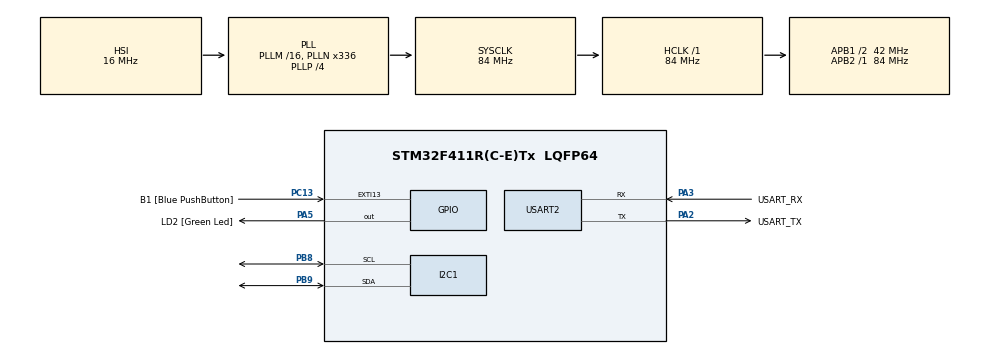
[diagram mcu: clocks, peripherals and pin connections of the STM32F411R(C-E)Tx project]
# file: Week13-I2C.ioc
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Mcu.Family=STM32F4
PC15-OSC32_OUT.Mode=LSE-External-Oscillator
RCC.CortexFreq_Value=84000000
NVIC.I2C1_EV_IRQn=true\:0\:0\:false\:false\:true\:true\:true
PC13-ANTI_TAMP.GPIO_Label=B1 [Blue PushButton]
PA14.GPIO_Label=TCK
PH1\ -\ OSC_OUT.Mode=HSE-External-Clock-Source
RCC.APB1CLKDivider=RCC_HCLK_DIV2
PC14-OSC32_IN.Signal=RCC_OSC32_IN
RCC.SYSCLKSource=RCC_SYSCLKSOURCE_PLLCLK
ProjectManager.StackSize=0x400
PA13.Signal=SYS_JTMS-SWDIO
PA3.Mode=Asynchronous
PH0\ -\ OSC_IN.Mode=HSE-External-Clock-Source
PH0\ -\ OSC_IN.Signal=RCC_OSC_IN
ProjectManager.TargetToolchain=STM32CubeIDE
I2C1.I2C_Mode=I2C_Fast
RCC.HCLKFreq_Value=84000000
PB9.Mode=I2C
RCC.APB2TimFreq_Value=84000000
PC15-OSC32_OUT.Signal=RCC_OSC32_OUT
RCC.AHBFreq_Value=84000000
PA5.Signal=GPIO_Output
RCC.HSE_VALUE=8000000
PH1\ -\ OSC_OUT.Signal=RCC_OSC_OUT
board=NUCLEO-F411RE
PC13-ANTI_TAMP.Signal=GPXTI13
RCC.VCOOutputFreq_Value=336000000
RCC.APB2Freq_Value=84000000
PC14-OSC32_IN.Mode=LSE-External-Oscillator
PA14.Mode=Serial_Wire
PA13.Mode=Serial_Wire
NVIC.I2C1_ER_IRQn=true\:0\:0\:false\:false\:true\:true\:true
Mcu.Name=STM32F411R(C-E)Tx
PA2.Signal=USART2_TX
PA13.GPIO_Label=TMS
RCC.FLatency-AdvancedSettings=FLASH_LATENCY_2
RCC.48MHZClocksFreq_Value=84000000
PB3.Signal=SYS_JTDO-SWO
RCC.SYSCLKFreq_VALUE=84000000
Mcu.Package=LQFP64
PB9.Signal=I2C1_SDA
PA5.GPIO_Label=LD2 [Green Led]
USART2.VirtualMode=VM_ASYNC
PC13-ANTI_TAMP.GPIO_ModeDefaultEXTI=GPIO_MODE_IT_FALLING
PA2.GPIO_Label=USART_TX
PA14.Signal=SYS_JTCK-SWCLK
ProjectManager.HeapSize=0x200
RCC.HSI_VALUE=16000000
RCC.PLLP=RCC_PLLP_DIV4
NVIC.PriorityGroup=NVIC_PRIORITYGROUP_0
PB8.Mode=I2C
RCC.PLLN=336
RCC.APB1TimFreq_Value=84000000
PA2.Mode=Asynchronous
PB8.Signal=I2C1_SCL
RCC.APB1Freq_Value=42000000
PA3.GPIO_Label=USART_RX
PA3.Signal=USART2_RX
PB3.GPIO_Label=SWO

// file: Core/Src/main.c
/* USER CODE BEGIN Header */
/**
 ******************************************************************************
 * @file           : main.c
 * @brief          : Main program body
 ******************************************************************************
 * @attention
 *
 * <h2><center>&copy; Copyright (c) 2021 STMicroelectronics.
 * All rights reserved.</center></h2>
 *
 * This software component is licensed by ST under BSD 3-Clause license,
 * the "License"; You may not use this file except in compliance with the
 * License. You may obtain a copy of the License at:
 *                        opensource.org/licenses/BSD-3-Clause
 *
 ******************************************************************************
 */
/* USER CODE END Header */
#include "main.h"

/* USER CODE BEGIN PD */
#define EEPROM_ADDR 0b10100000
#define IOEXPD_ADDR 0b01000000
/* USER CODE END PD */

I2C_HandleTypeDef hi2c1;

UART_HandleTypeDef huart2;

/* USER CODE BEGIN PV */
uint8_t eepromExampleWriteFlag = 0;
uint8_t eepromExampleReadFlag = 0;
uint8_t IOExpdrExampleWriteFlag = 0;
uint8_t IOExpdrExampleReadFlag = 0;
uint8_t eepromDataReadBack[4];
uint8_t IOExpdrDataReadBack;
uint8_t IOExpdrDataWrite ;
uint64_t ButtonB1[2];
uint8_t Rdata = 0;
uint8_t data;
uint16_t state = 0;

/* USER CODE END PV */

void SystemClock_Config(void);
static void MX_GPIO_Init(void);
static void MX_USART2_UART_Init(void);
static void MX_I2C1_Init(void);
/* USER CODE BEGIN PFP */
void EEPROMWriteExample();
void EEPROMReadExample();

void IOExpenderInit();
void IOExpenderReadPinA();
void IOExpenderWritePinB();

/* USER CODE END PFP */

int main(void)
{

  /* MCU Configuration--------------------------------------------------------*/

  /* Reset of all peripherals, Initializes the Flash interface and the Systick. */
  HAL_Init();

  /* Configure the system clock */
  SystemClock_Config();

  /* Initialize all configured peripherals */
  MX_GPIO_Init();
  MX_USART2_UART_Init();
  MX_I2C1_Init();
  /* USER CODE BEGIN 2 */
  HAL_Delay(100);
  IOExpenderInit();
  /* USER CODE END 2 */

  /* Infinite loop */
  /* USER CODE BEGIN WHILE */
	while (1) {
		ButtonB1[0] = HAL_GPIO_ReadPin(GPIOC, GPIO_PIN_13);
		switch(state)
		{
			case 0:
				if(ButtonB1[0] == 0 && ButtonB1[1] == 1)
				{
					IOExpenderReadPinA();
					HAL_Delay(100);
					EEPROMWriteExample();
					state = 1;
					break;
				}

			case 1:
				 if(ButtonB1[0] == 1 && ButtonB1[1] == 0)
				{
					EEPROMReadExample();
					HAL_Delay(100);
					IOExpenderWritePinB();
					state = 0;
					break;
				}
		}
		ButtonB1[1] = ButtonB1[0];

    /* USER CODE END WHILE */

	}
}

void SystemClock_Config(void)
{
  RCC_OscInitTypeDef RCC_OscInitStruct = {0};
  RCC_ClkInitTypeDef RCC_ClkInitStruct = {0};

  /** Configure the main internal regulator output voltage
  */
  __HAL_RCC_PWR_CLK_ENABLE();
  __HAL_PWR_VOLTAGESCALING_CONFIG(PWR_REGULATOR_VOLTAGE_SCALE1);
  /** Initializes the RCC Oscillators according to the specified parameters
  * in the RCC_OscInitTypeDef structure.
  */
  RCC_OscInitStruct.OscillatorType = RCC_OSCILLATORTYPE_HSI;
  RCC_OscInitStruct.HSIState = RCC_HSI_ON;
  RCC_OscInitStruct.HSICalibrationValue = RCC_HSICALIBRATION_DEFAULT;
  RCC_OscInitStruct.PLL.PLLState = RCC_PLL_ON;
  RCC_OscInitStruct.PLL.PLLSource = RCC_PLLSOURCE_HSI;
  RCC_OscInitStruct.PLL.PLLM = 16;
  RCC_OscInitStruct.PLL.PLLN = 336;
  RCC_OscInitStruct.PLL.PLLP = RCC_PLLP_DIV4;
  RCC_OscInitStruct.PLL.PLLQ = 4;
  if (HAL_RCC_OscConfig(&RCC_OscInitStruct) != HAL_OK)
  {
    Error_Handler();
  }
  /** Initializes the CPU, AHB and APB buses clocks
  */
  RCC_ClkInitStruct.ClockType = RCC_CLOCKTYPE_HCLK|RCC_CLOCKTYPE_SYSCLK
                              |RCC_CLOCKTYPE_PCLK1|RCC_CLOCKTYPE_PCLK2;
  RCC_ClkInitStruct.SYSCLKSource = RCC_SYSCLKSOURCE_PLLCLK;
  RCC_ClkInitStruct.AHBCLKDivider = RCC_SYSCLK_DIV1;
  RCC_ClkInitStruct.APB1CLKDivider = RCC_HCLK_DIV2;
  RCC_ClkInitStruct.APB2CLKDivider = RCC_HCLK_DIV1;

  if (HAL_RCC_ClockConfig(&RCC_ClkInitStruct, FLASH_LATENCY_2) != HAL_OK)
  {
    Error_Handler();
  }
}

static void MX_I2C1_Init(void)
{

  hi2c1.Instance = I2C1;
  hi2c1.Init.ClockSpeed = 400000;
  hi2c1.Init.DutyCycle = I2C_DUTYCYCLE_2;
  hi2c1.Init.OwnAddress1 = 0;
  hi2c1.Init.AddressingMode = I2C_ADDRESSINGMODE_7BIT;
  hi2c1.Init.DualAddressMode = I2C_DUALADDRESS_DISABLE;
  hi2c1.Init.OwnAddress2 = 0;
  hi2c1.Init.GeneralCallMode = I2C_GENERALCALL_DISABLE;
  hi2c1.Init.NoStretchMode = I2C_NOSTRETCH_DISABLE;
  if (HAL_I2C_Init(&hi2c1) != HAL_OK)
  {
    Error_Handler();
  }

}

static void MX_USART2_UART_Init(void)
{

  huart2.Instance = USART2;
  huart2.Init.BaudRate = 115200;
  huart2.Init.WordLength = UART_WORDLENGTH_8B;
  huart2.Init.StopBits = UART_STOPBITS_1;
  huart2.Init.Parity = UART_PARITY_NONE;
  huart2.Init.Mode = UART_MODE_TX_RX;
  huart2.Init.HwFlowCtl = UART_HWCONTROL_NONE;
  huart2.Init.OverSampling = UART_OVERSAMPLING_16;
  if (HAL_UART_Init(&huart2) != HAL_OK)
  {
    Error_Handler();
  }

}

static void MX_GPIO_Init(void)
{
  GPIO_InitTypeDef GPIO_InitStruct = {0};

  /* GPIO Ports Clock Enable */
  __HAL_RCC_GPIOC_CLK_ENABLE();
  __HAL_RCC_GPIOH_CLK_ENABLE();
  __HAL_RCC_GPIOA_CLK_ENABLE();
  __HAL_RCC_GPIOB_CLK_ENABLE();

  /*Configure GPIO pin Output Level */
  HAL_GPIO_WritePin(LD2_GPIO_Port, LD2_Pin, GPIO_PIN_RESET);

  /*Configure GPIO pin : B1_Pin */
  GPIO_InitStruct.Pin = B1_Pin;
  GPIO_InitStruct.Mode = GPIO_MODE_IT_FALLING;
  GPIO_InitStruct.Pull = GPIO_NOPULL;
  HAL_GPIO_Init(B1_GPIO_Port, &GPIO_InitStruct);

  /*Configure GPIO pin : LD2_Pin */
  GPIO_InitStruct.Pin = LD2_Pin;
  GPIO_InitStruct.Mode = GPIO_MODE_OUTPUT_PP;
  GPIO_InitStruct.Pull = GPIO_NOPULL;
  GPIO_InitStruct.Speed = GPIO_SPEED_FREQ_LOW;
  HAL_GPIO_Init(LD2_GPIO_Port, &GPIO_InitStruct);

}

/* USER CODE BEGIN 4 */
void EEPROMWriteExample() {

	HAL_I2C_Mem_Write_IT(&hi2c1, EEPROM_ADDR, 0x07, I2C_MEMADD_SIZE_16BIT,&IOExpdrDataReadBack, 1);

}
void EEPROMReadExample() {

	HAL_I2C_Mem_Read_IT(&hi2c1, EEPROM_ADDR, 0x07, I2C_MEMADD_SIZE_16BIT,&IOExpdrDataWrite, 1);
}
void IOExpenderInit() {
	//Init All
	static uint8_t Setting[0x16] = { 0xFF, 0x00, 0x00, 0x00, 0x00, 0x00, 0x00,
			0x00, 0x00, 0x00, 0x00, 0x00, 0xFF, 0x00, 0x00, 0x00, 0x00, 0x00,
			0x00, 0x00, 0x00, 0x00 };
	HAL_I2C_Mem_Write(&hi2c1, IOEXPD_ADDR, 0x00, I2C_MEMADD_SIZE_8BIT, Setting,
			0x16, 100);
}
void IOExpenderReadPinA() {

	HAL_I2C_Mem_Read_IT(&hi2c1, IOEXPD_ADDR, 0x12, I2C_MEMADD_SIZE_8BIT, &IOExpdrDataReadBack, 1);

}
void IOExpenderWritePinB() {

	HAL_I2C_Mem_Write_IT(&hi2c1, IOEXPD_ADDR, 0x15, I2C_MEMADD_SIZE_8BIT,&IOExpdrDataWrite, 1);

}
/* USER CODE END 4 */

void Error_Handler(void)
{
	__disable_irq();
	while (1) {
	}
}

/************************ (C) COPYRIGHT STMicroelectronics *****END OF FILE****/
